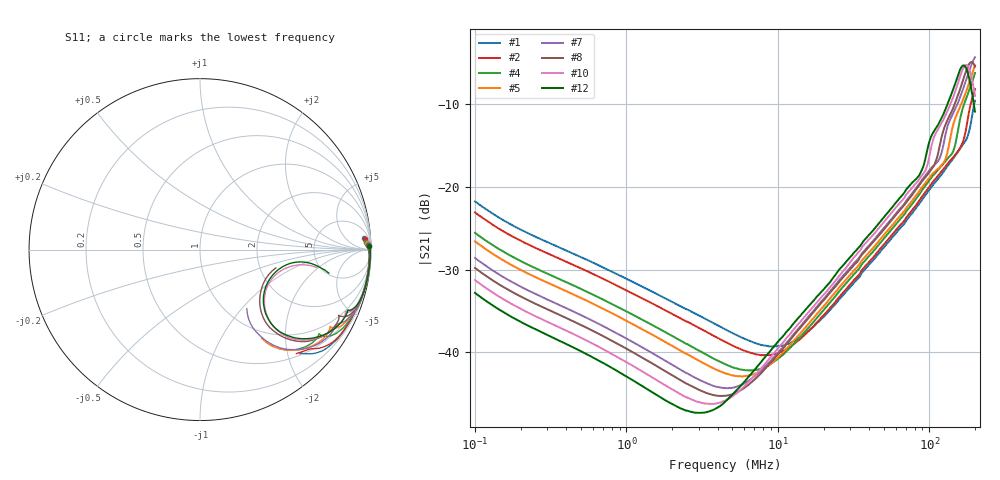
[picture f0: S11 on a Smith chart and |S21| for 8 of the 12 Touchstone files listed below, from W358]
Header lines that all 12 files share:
#  HZ  S  RI  R  50.00
! Rohde & Schwarz Vector Network Analyzer
! Rohde-Schwarz,ZNLE6-2Port,1323001256200024,1.71.1.10-23.02.1.238
! freq[Hz]  re:S11  im:S11  re:S21  im:S21  re:S12  im:S12  re:S22  im:S22
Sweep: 100 kHz to 200 MHz
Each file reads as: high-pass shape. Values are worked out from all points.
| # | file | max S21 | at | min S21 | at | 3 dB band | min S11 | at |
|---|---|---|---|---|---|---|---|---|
| 1 | 12.s2p | -9.58 dB | 200 MHz | -39.3 dB | 9.137 MHz | 186.8 MHz-200 MHz | -1.5 dB | 200 MHz |
| 2 | 13.s2p | -8.17 dB | 200 MHz | -40.3 dB | 7.789 MHz | 182.6 MHz-200 MHz | -1.6 dB | 200 MHz |
| 3 | 14.s2p | -6.79 dB | 200 MHz | -41.2 dB | 7.33 MHz | 178.4 MHz-200 MHz | -2.2 dB | 200 MHz |
| 4 | 15.s2p | -6.23 dB | 200 MHz | -42.2 dB | 6.441 MHz | 175.8 MHz-200 MHz | -2.6 dB | 200 MHz |
| 5 | 16.s2p | -5.31 dB | 200 MHz | -42.9 dB | 5.791 MHz | 177.1 MHz-200 MHz | -4.0 dB | 200 MHz |
| 6 | 17.s2p | -5.39 dB | 200 MHz | -43.7 dB | 5.206 MHz | 177.1 MHz-200 MHz | -3.9 dB | 200 MHz |
| 7 | 18.s2p | -4.32 dB | 200 MHz | -44.3 dB | 4.61 MHz | 173.1 MHz-200 MHz | -7.1 dB | 200 MHz |
| 8 | 19.s2p | -4.91 dB | 189.6 MHz | -45.3 dB | 4.273 MHz | 161.7 MHz-200 MHz | -7.5 dB | 194 MHz |
| 9 | 20.s2p | -4.89 dB | 185.4 MHz | -45.6 dB | 3.9 MHz | 159.2 MHz-200 MHz | -7.7 dB | 191.1 MHz |
| 10 | 21.s2p | -5.26 dB | 175.8 MHz | -46.2 dB | 3.698 MHz | 149.8 MHz-195.5 MHz | -7.0 dB | 178.4 MHz |
| 11 | 22.s2p | -5.12 dB | 173.1 MHz | -46.7 dB | 3.177 MHz | 148.7 MHz-195.5 MHz | -7.4 dB | 178.4 MHz |
| 12 | 23.s2p | -5.31 dB | 167.9 MHz | -47.3 dB | 2.967 MHz | 143.1 MHz-189.6 MHz | -7.1 dB | 171.8 MHz |
